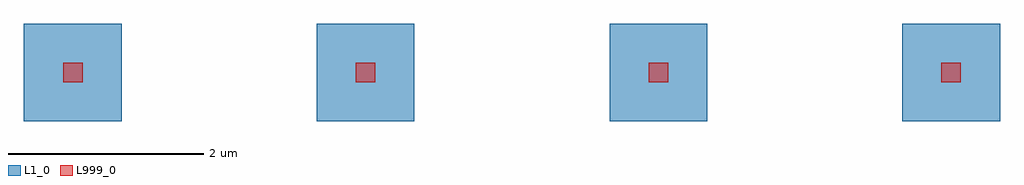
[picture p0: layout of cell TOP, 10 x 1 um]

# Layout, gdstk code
import gdstk
lib = gdstk.Library(unit=1e-6, precision=1e-09)
def R(c, l, rs):  # rectangles x0, y0, x1, y1
    for r in rs: c.add(gdstk.rectangle(r[:2], r[2:], *l))
def A(c, l, x, y, w, h, nx, ny, dx, dy):  # array of equal rectangles
    R(c, l, [(x+i*dx, y+j*dy, x+i*dx+w, y+j*dy+h) for i in range(nx) for j in range(ny)])
L1_0 = (1, 0)
L999_0 = (999, 0)

top = lib.new_cell('TOP')
A(top, L1_0, 0, 0, 1, 1, 4, 1, 3, 0)
A(top, L999_0, 0.4, 0.4, 0.2, 0.2, 4, 1, 3, 0)

lib.write_gds('TOP.gds')
